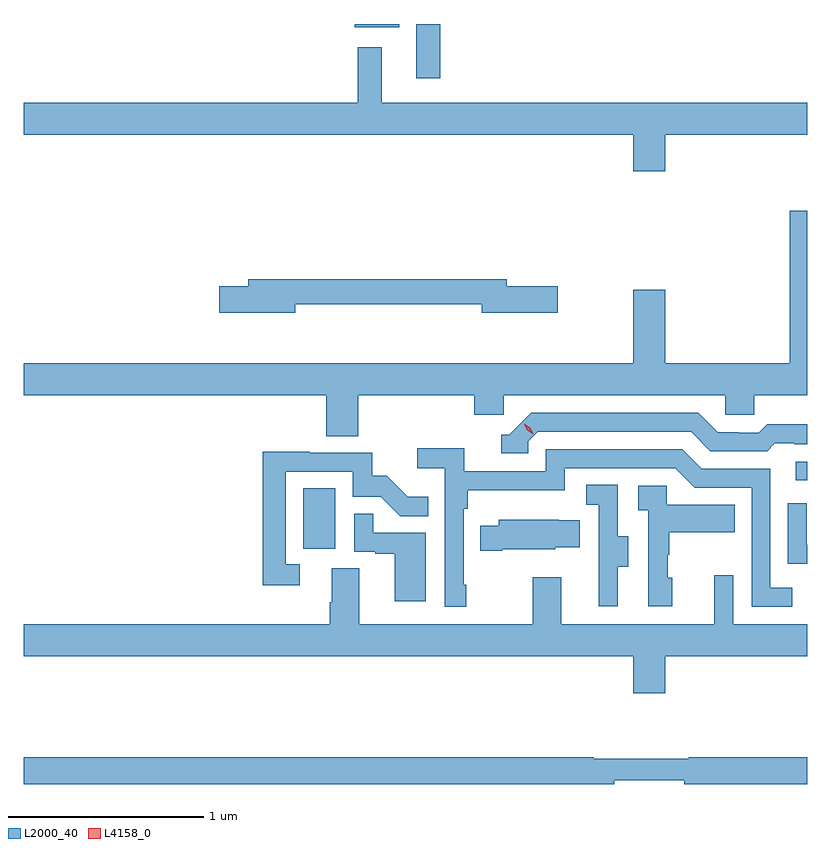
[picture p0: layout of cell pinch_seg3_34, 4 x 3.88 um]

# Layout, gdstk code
import gdstk
lib = gdstk.Library(unit=1e-6, precision=1e-09)
def R(c, l, rs):  # rectangles x0, y0, x1, y1
    for r in rs: c.add(gdstk.rectangle(r[:2], r[2:], *l))
def P(c, l, *ps):  # polygons
    for p in ps: c.add(gdstk.Polygon(p, *l))
L2000_40 = (2000, 40)
L4158_0 = (4158, 0)

pinch_seg3_34 = lib.new_cell('pinch_seg3_34')
R(pinch_seg3_34, L2000_40, [(1098.386,737.43,1098.55,737.737), (1100.901,737.778,1100.96,737.874), (1098.965,739.833,1099.087,740.109), (1098.65,740.093,1098.877,740.109)])
P(pinch_seg3_34, L2000_40, [(1100.236,739.544),(1100.96,739.544),(1100.96,739.708),(1098.787,739.708),(1098.787,739.99),(1098.666,739.99),(1098.666,739.708),(1096.96,739.708),(1096.96,739.544),(1100.072,739.544),(1100.072,739.356),(1100.236,739.356)],
  [(1098.668,738.212),(1099.259,738.212),(1099.259,738.114),(1099.41,738.114),(1099.41,738.212),(1100.541,738.212),(1100.541,738.114),(1100.691,738.114),(1100.691,738.212),(1100.96,738.212),(1100.96,739.156),(1100.87,739.156),(1100.87,738.376),(1100.236,738.376),(1100.236,738.751),(1100.072,738.751),(1100.072,738.376),(1096.96,738.376),(1096.96,738.212),(1098.503,738.212),(1098.503,738.004),(1098.668,738.004)],
  [(1098.346,738.678),(1099.298,738.678),(1099.298,738.635),(1099.687,738.635),(1099.687,738.77),(1099.426,738.77),(1099.426,738.806),(1098.107,738.806),(1098.107,738.77),(1097.958,738.77),(1097.958,738.635),(1098.346,738.635)],
  [(1099.536,737.979),(1099.584,738.027),(1100.367,738.027),(1100.466,737.928),(1100.755,737.928),(1100.794,737.967),(1100.893,737.967),(1100.893,737.964),(1100.96,737.964),(1100.96,738.064),(1100.755,738.064),(1100.713,738.021),(1100.61,738.021),(1100.61,738.024),(1100.503,738.024),(1100.404,738.123),(1099.551,738.123),(1099.44,738.012),(1099.397,738.012),(1099.397,737.916),(1099.536,737.916)],
  [(1099.219,737.245),(1099.206,737.245),(1099.206,737.633),(1099.226,737.633),(1099.226,737.729),(1099.722,737.729),(1099.722,737.841),(1100.286,737.841),(1100.385,737.742),(1100.676,737.742),(1100.676,737.133),(1100.885,737.133),(1100.885,737.229),(1100.772,737.229),(1100.772,737.838),(1100.422,737.838),(1100.323,737.937),(1099.626,737.937),(1099.626,737.826),(1099.208,737.826),(1099.208,737.942),(1098.969,737.942),(1098.969,737.84),(1099.11,737.84),(1099.11,737.133),(1099.219,737.133)],
  [(1098.37,737.349),(1098.297,737.349),(1098.297,737.823),(1098.639,737.823),(1098.639,737.694),(1098.783,737.694),(1098.881,737.596),(1099.025,737.596),(1099.025,737.695),(1098.921,737.695),(1098.814,737.802),(1098.738,737.802),(1098.738,737.919),(1098.419,737.919),(1098.419,737.924),(1098.181,737.924),(1098.181,737.244),(1098.37,737.244)],
  [(1099.993,737.338),(1100.047,737.338),(1100.047,737.493),(1099.992,737.493),(1099.992,737.756),(1099.833,737.756),(1099.833,737.653),(1099.896,737.653),(1099.896,737.349),(1099.895,737.349),(1099.895,737.136),(1099.993,737.136)],
  [(1100.272,737.28),(1100.247,737.28),(1100.247,737.399),(1100.257,737.399),(1100.257,737.513),(1100.591,737.513),(1100.591,737.653),(1100.244,737.653),(1100.244,737.751),(1100.097,737.751),(1100.097,737.627),(1100.148,737.627),(1100.148,737.136),(1100.272,737.136)],
  [(1100.96,737.45),(1100.958,737.45),(1100.958,737.662),(1100.862,737.662),(1100.862,737.352),(1100.96,737.352)],
  [(1099.012,737.511),(1098.743,737.511),(1098.743,737.609),(1098.648,737.609),(1098.648,737.415),(1098.755,737.415),(1098.755,737.403),(1098.854,737.403),(1098.854,737.16),(1099.012,737.16)],
  [(1099.402,737.426),(1099.674,737.426),(1099.674,737.438),(1099.799,737.438),(1099.799,737.575),(1099.691,737.575),(1099.691,737.578),(1099.385,737.578),(1099.385,737.548),(1099.291,737.548),(1099.291,737.419),(1099.402,737.419)],
  [(1100.236,736.88),(1100.96,736.88),(1100.96,737.044),(1100.583,737.044),(1100.583,737.293),(1100.486,737.293),(1100.486,737.044),(1099.705,737.044),(1099.705,737.284),(1099.558,737.284),(1099.558,737.044),(1098.673,737.044),(1098.673,737.33),(1098.533,737.33),(1098.533,737.156),(1098.521,737.156),(1098.521,737.044),(1096.96,737.044),(1096.96,736.88),(1100.072,736.88),(1100.072,736.692),(1100.236,736.692)],
  [(1099.976,736.247),(1100.332,736.247),(1100.332,736.228),(1100.96,736.228),(1100.96,736.364),(1100.355,736.364),(1100.355,736.357),(1099.87,736.357),(1099.87,736.364),(1096.96,736.364),(1096.96,736.228),(1099.976,736.228)])
P(pinch_seg3_34, L4158_0, [(1099.562,738.014),(1099.531,738.034),(1099.515,738.067),(1099.515,738.067),(1099.515,738.067),(1099.546,738.047),(1099.562,738.015),(1099.562,738.014)])

lib.write_gds('pinch_seg3_34.gds')
